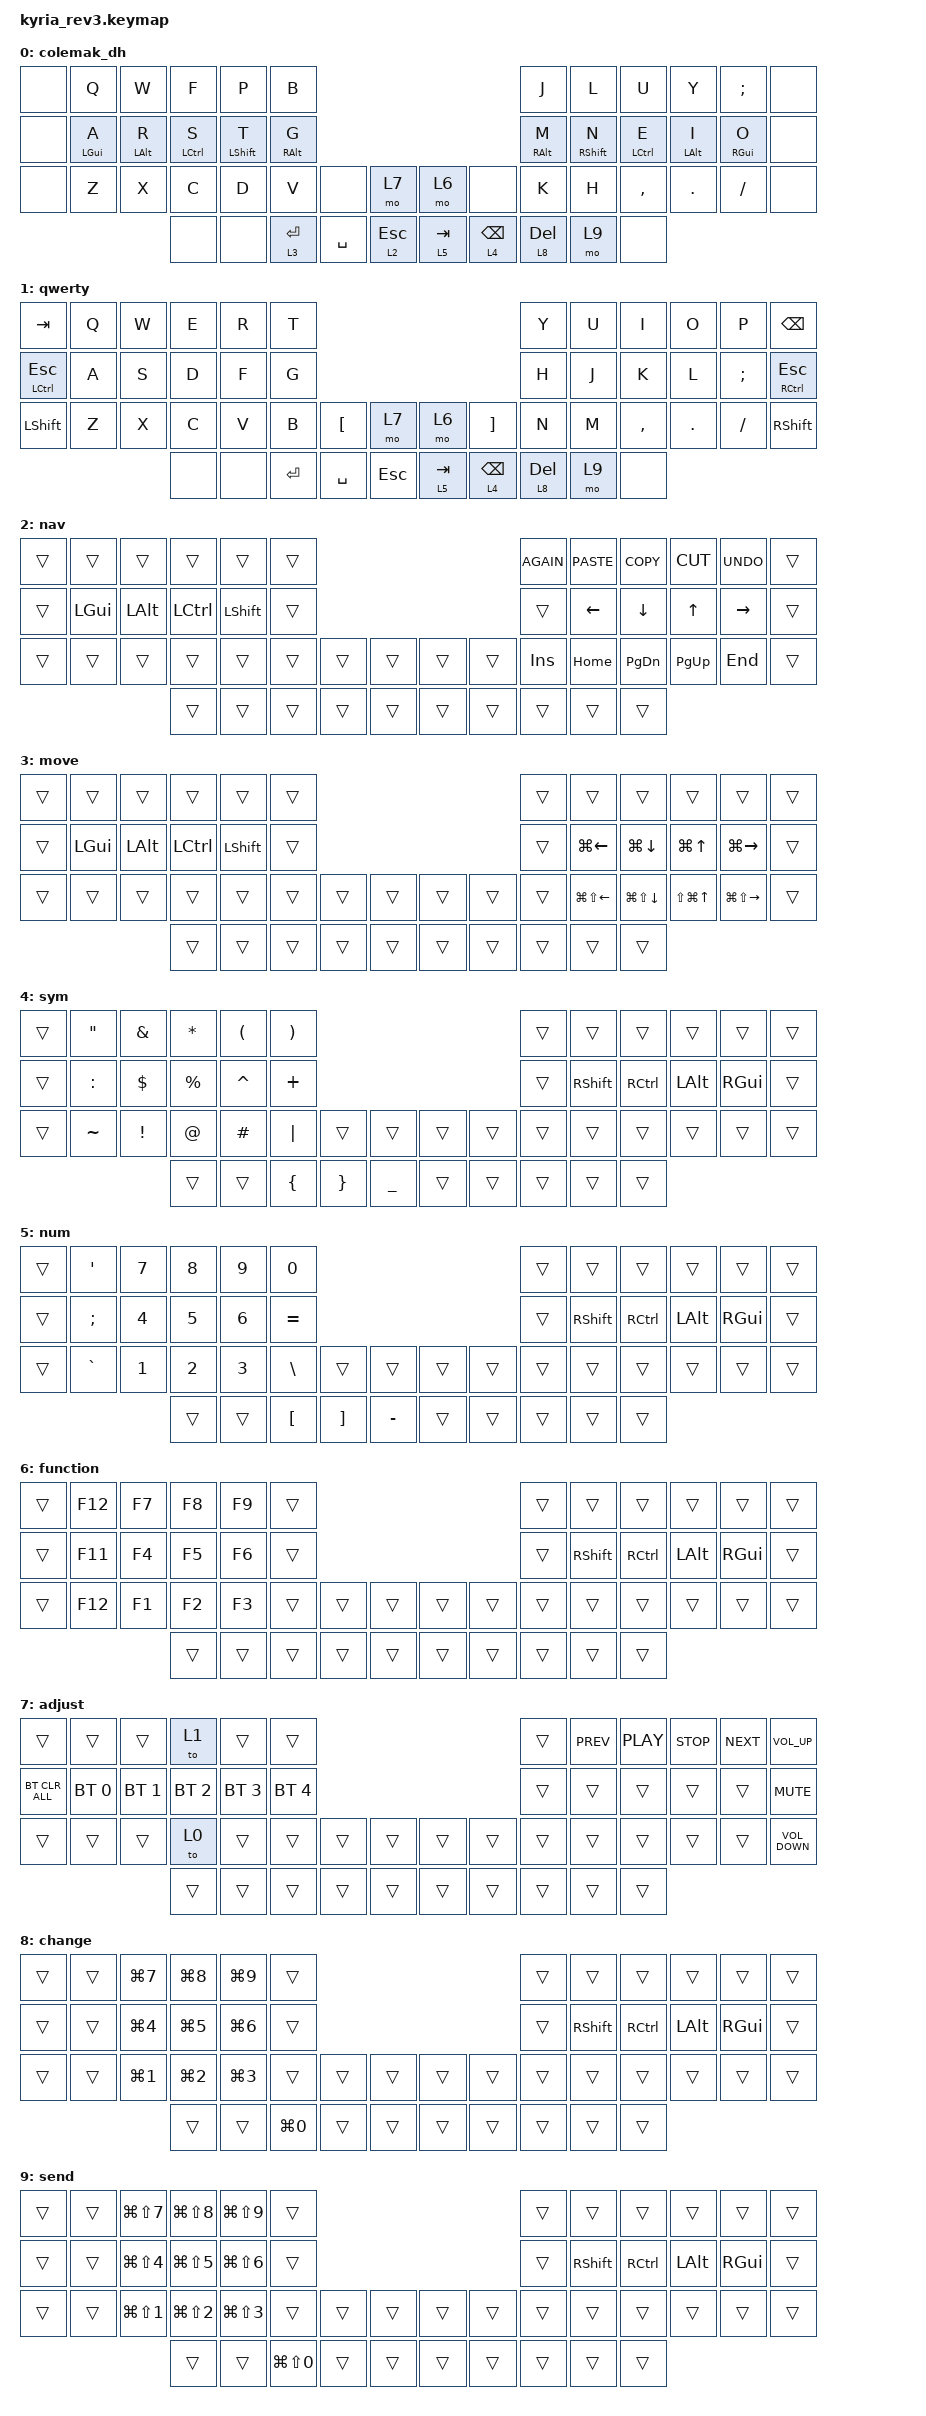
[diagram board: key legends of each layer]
/*
 * Copyright (c) 2023 The ZMK Contributors
 *
 * SPDX-License-Identifier: MIT
 */

#include <behaviors.dtsi>
#include <dt-bindings/zmk/bt.h>
#include <dt-bindings/zmk/keys.h>

&mt {
    flavor = "tap-preferred";
    tapping-term-ms = <170>;
    quick-tap-ms = <170>;
};

&lt { quick-tap-ms = <200>; };

/ {
    keymap {
        compatible = "zmk,keymap";

        // COLEMAK DH Layer

        colemak_dh {
            bindings = <
&none  &kp Q       &kp W       &kp F        &kp P        &kp B                                                             &kp J         &kp L        &kp U        &kp Y       &kp SEMI    &none
&none  &mt LGUI A  &mt LALT R  &mt LCTRL S  &mt LSHFT T  &mt RALT G                                                        &mt RALT M    &mt RSHFT N  &mt LCTRL E  &mt LALT I  &mt RGUI O  &none
&none  &kp Z       &kp X       &kp C        &kp D        &kp V        &none      &mo 7         &mo 6      &none            &kp K         &kp H        &kp COMMA    &kp DOT     &kp SLASH   &none
                               &none        &none        &lt 3 ENTER  &kp SPACE  &lt 2 ESCAPE  &lt 5 TAB  &lt 4 BACKSPACE  &lt 8 DELETE  &mo 9        &none
            >;
        };

        // COLEMAK DH SAFE Layer
        // QWERTY Layer

        qwerty {
            bindings = <
&kp TAB        &kp Q  &kp W  &kp E  &kp R  &kp T                                                                  &kp Y         &kp U  &kp I      &kp O    &kp P      &kp BSPC
&mt LCTRL ESC  &kp A  &kp S  &kp D  &kp F  &kp G                                                                  &kp H         &kp J  &kp K      &kp L    &kp SEMI   &mt RCTRL ESCAPE
&kp LSHFT      &kp Z  &kp X  &kp C  &kp V  &kp B      &kp LEFT_BRACKET  &mo 7       &mo 6      &kp RIGHT_BRACKET  &kp N         &kp M  &kp COMMA  &kp DOT  &kp SLASH  &kp RIGHT_SHIFT
                             &none  &none  &kp ENTER  &kp SPACE         &kp ESCAPE  &lt 5 TAB  &lt 4 BACKSPACE    &lt 8 DELETE  &mo 9  &none
            >;
        };

        // NAV Layer

        nav {
            bindings = <
&trans  &trans    &trans    &trans     &trans     &trans                                  &kp K_AGAIN  &kp K_PASTE  &kp K_COPY     &kp K_CUT  &kp K_UNDO  &trans
&trans  &kp LGUI  &kp LALT  &kp LCTRL  &kp LSHFT  &trans                                  &trans       &kp LEFT     &kp DOWN       &kp UP     &kp RIGHT   &trans
&trans  &trans    &trans    &trans     &trans     &trans  &trans  &trans  &trans  &trans  &kp INSERT   &kp HOME     &kp PAGE_DOWN  &kp PG_UP  &kp END     &trans
                            &trans     &trans     &trans  &trans  &trans  &trans  &trans  &trans       &trans       &trans
            >;
        };

        // MOVE Layer

        move {
            bindings = <
&trans  &trans    &trans    &trans     &trans     &trans                                  &trans  &trans            &trans            &trans            &trans             &trans
&trans  &kp LGUI  &kp LALT  &kp LCTRL  &kp LSHFT  &trans                                  &trans  &kp LG(LEFT)      &kp LG(DOWN)      &kp LG(UP_ARROW)  &kp LG(RIGHT)      &trans
&trans  &trans    &trans    &trans     &trans     &trans  &trans  &trans  &trans  &trans  &trans  &kp LG(LS(LEFT))  &kp LG(LS(DOWN))  &kp LS(LG(UP))    &kp LG(LS(RIGHT))  &trans
                            &trans     &trans     &trans  &trans  &trans  &trans  &trans  &trans  &trans            &trans
            >;
        };

        // SYM Layer

        sym {
            bindings = <
&trans  &kp DQT    &kp AMPS  &kp ASTRK    &kp LEFT_PARENTHESIS  &kp RIGHT_PARENTHESIS                                              &trans  &trans     &trans     &trans    &trans    &trans
&trans  &kp COLON  &kp DLLR  &kp PERCENT  &kp CARET             &kp PLUS                                                           &trans  &kp RSHFT  &kp RCTRL  &kp LALT  &kp RGUI  &trans
&trans  &kp TILDE  &kp EXCL  &kp AT       &kp HASH              &kp PIPE               &trans           &trans     &trans  &trans  &trans  &trans     &trans     &trans    &trans    &trans
                             &trans       &trans                &kp LEFT_BRACE         &kp RIGHT_BRACE  &kp UNDER  &trans  &trans  &trans  &trans     &trans
            >;
        };

        // NUM Layer

        num {
            bindings = <
&trans  &kp SINGLE_QUOTE  &kp N7  &kp N8  &kp N9  &kp N0                                                          &trans  &trans     &trans     &trans    &trans    &trans
&trans  &kp SEMI          &kp N4  &kp N5  &kp N6  &kp EQUAL                                                       &trans  &kp RSHFT  &kp RCTRL  &kp LALT  &kp RGUI  &trans
&trans  &kp GRAVE         &kp N1  &kp N2  &kp N3  &kp BACKSLASH     &trans             &trans     &trans  &trans  &trans  &trans     &trans     &trans    &trans    &trans
                                  &trans  &trans  &kp LEFT_BRACKET  &kp RIGHT_BRACKET  &kp MINUS  &trans  &trans  &trans  &trans     &trans
            >;
        };

        // FUNCTION Layer

        function {
            bindings = <
&trans  &kp F12  &kp F7  &kp F8  &kp F9  &trans                                  &trans  &trans     &trans     &trans    &trans    &trans
&trans  &kp F11  &kp F4  &kp F5  &kp F6  &trans                                  &trans  &kp RSHFT  &kp RCTRL  &kp LALT  &kp RGUI  &trans
&trans  &kp F12  &kp F1  &kp F2  &kp F3  &trans  &trans  &trans  &trans  &trans  &trans  &trans     &trans     &trans    &trans    &trans
                         &trans  &trans  &trans  &trans  &trans  &trans  &trans  &trans  &trans     &trans
            >;
        };

        // ADJUST Layer

        adjust {
            bindings = <
&trans          &trans        &trans        &to 1         &trans        &trans                                        &trans  &kp C_PREV  &kp C_PLAY  &kp C_STOP  &kp C_NEXT  &kp C_VOLUME_UP
&bt BT_CLR_ALL  &bt BT_SEL 0  &bt BT_SEL 1  &bt BT_SEL 2  &bt BT_SEL 3  &bt BT_SEL 4                                  &trans  &trans      &trans      &trans      &trans      &kp C_MUTE
&trans          &trans        &trans        &to 0         &trans        &trans        &trans  &trans  &trans  &trans  &trans  &trans      &trans      &trans      &trans      &kp C_VOLUME_DOWN
                                            &trans        &trans        &trans        &trans  &trans  &trans  &trans  &trans  &trans      &trans
            >;
        };

        // CHANGE Layer

        change {
            bindings = <
&trans  &trans  &kp LG(N7)  &kp LG(N8)  &kp LG(N9)  &trans                                      &trans  &trans     &trans     &trans    &trans    &trans
&trans  &trans  &kp LG(N4)  &kp LG(N5)  &kp LG(N6)  &trans                                      &trans  &kp RSHFT  &kp RCTRL  &kp LALT  &kp RGUI  &trans
&trans  &trans  &kp LG(N1)  &kp LG(N2)  &kp LG(N3)  &trans      &trans  &trans  &trans  &trans  &trans  &trans     &trans     &trans    &trans    &trans
                            &trans      &trans      &kp LG(N0)  &trans  &trans  &trans  &trans  &trans  &trans     &trans
            >;
        };

        // SEND Layer

        send {
            bindings = <
&trans  &trans  &kp LG(LS(N7))  &kp LG(LS(N8))  &kp LG(LS(N9))  &trans                                          &trans  &trans     &trans     &trans    &trans    &trans
&trans  &trans  &kp LG(LS(N4))  &kp LG(LS(N5))  &kp LG(LS(N6))  &trans                                          &trans  &kp RSHFT  &kp RCTRL  &kp LALT  &kp RGUI  &trans
&trans  &trans  &kp LG(LS(N1))  &kp LG(LS(N2))  &kp LG(LS(N3))  &trans          &trans  &trans  &trans  &trans  &trans  &trans     &trans     &trans    &trans    &trans
                                &trans          &trans          &kp LG(LS(N0))  &trans  &trans  &trans  &trans  &trans  &trans     &trans
            >;
        };
    };
};
